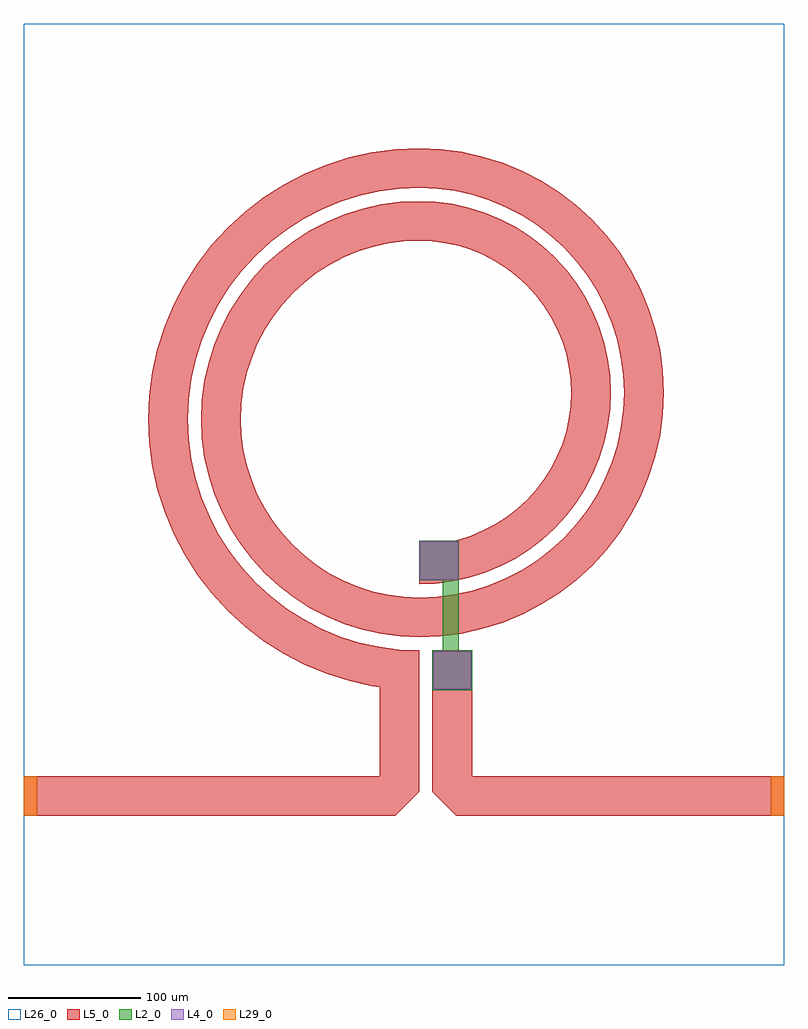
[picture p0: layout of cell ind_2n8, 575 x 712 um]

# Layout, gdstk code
import gdstk
lib = gdstk.Library(unit=1e-6, precision=5e-10)
def R(c, l, rs):  # rectangles x0, y0, x1, y1
    for r in rs: c.add(gdstk.rectangle(r[:2], r[2:], *l))
def P(c, l, *ps):  # polygons
    for p in ps: c.add(gdstk.Polygon(p, *l))
L2_0 = (2, 0)
L4_0 = (4, 0)
L5_0 = (5, 0)
L26_0 = (26, 0)
L29_0 = (29, 0)

ind_2n8 = lib.new_cell('ind_2n8')
R(ind_2n8, L2_0, [(5,95,35,125), (13,95,25,205), (-5,178,25,208)])
R(ind_2n8, L4_0, [(5.5,95.5,34.5,124.5), (-4.5,178.5,24.5,207.5)])
R(ind_2n8, L5_0, [(-304,0,-289,30), (256,0,271,30), (-35,75,-5,125), (5,75,35,125), (-5,178,25,208)])
P(ind_2n8, L5_0, [(271,30),(35,30),(35,75),(5,75),(5,18),(23,0),(271,0)],
  [(-5,165),(-5,135),(11.124,135.704),(27.125,137.8105),(42.8815,141.3035),(58.2735,146.157),(73.1845,152.333),(87.5,159.7855),(101.1115,168.457),(113.9155,178.282),(125.815,189.185),(136.718,201.0845),(146.543,213.8885),(155.2145,227.5),(162.667,241.8155),(168.843,256.7265),(173.6965,272.1185),(177.1895,287.875),(179.296,303.876),(180,320),(179.296,336.124),(177.1895,352.125),(173.6965,367.8815),(168.843,383.2735),(162.667,398.1845),(155.2145,412.5),(146.543,426.1115),(136.718,438.9155),(125.815,450.815),(113.9155,461.718),(101.1115,471.543),(87.5,480.2145),(73.1845,487.667),(58.2735,493.843),(42.8815,498.6965),(27.125,502.1895),(11.124,504.296),(-5,505),(-5,475),(8.509,474.41),(21.9155,472.645),(35.117,469.7185),(48.013,465.6525),(60.506,460.4775),(72.5,454.234),(83.9045,446.9685),(94.632,438.737),(104.6015,429.6015),(113.737,419.632),(121.9685,408.9045),(129.234,397.5),(135.4775,385.506),(140.6525,373.013),(144.7185,360.117),(147.645,346.9155),(149.41,333.509),(150,320),(149.41,306.491),(147.645,293.0845),(144.7185,279.883),(140.6525,266.987),(135.4775,254.494),(129.234,242.5),(121.9685,231.0955),(113.737,220.368),(104.6015,210.3985),(94.632,201.263),(83.9045,193.0315),(72.5,185.766),(60.506,179.5225),(48.013,174.3475),(35.117,170.2815),(21.9155,167.355),(8.509,165.59)],
  [(-5,205),(-5,175),(7.6375,175.552),(20.179,177.203),(32.529,179.941),(44.593,183.7445),(56.2795,188.5855),(67.5,194.4265),(78.1685,201.223),(88.204,208.9235),(97.5305,217.4695),(106.0765,226.796),(113.777,236.8315),(120.5735,247.5),(126.4145,258.7205),(131.2555,270.407),(135.059,282.471),(137.797,294.821),(139.448,307.3625),(140,320),(139.448,332.6375),(137.797,345.179),(135.059,357.529),(131.2555,369.593),(126.4145,381.2795),(120.5735,392.5),(113.777,403.1685),(106.0765,413.204),(97.5305,422.5305),(88.204,431.0765),(78.1685,438.777),(67.5,445.5735),(56.2795,451.4145),(44.593,456.2555),(32.529,460.059),(20.179,462.797),(7.6375,464.448),(-5,465),(-5,435),(5.023,434.5625),(14.9695,433.253),(24.764,431.0815),(34.3325,428.0645),(43.601,424.2255),(52.5,419.593),(60.9615,414.2025),(68.9205,408.095),(76.3175,401.3175),(83.095,393.9205),(89.2025,385.9615),(94.593,377.5),(99.2255,368.601),(103.0645,359.3325),(106.0815,349.764),(108.253,339.9695),(109.5625,330.023),(110,320),(109.5625,309.977),(108.253,300.0305),(106.0815,290.236),(103.0645,280.6675),(99.2255,271.399),(94.593,262.5),(89.2025,254.0385),(83.095,246.0795),(76.3175,238.6825),(68.9205,231.905),(60.9615,225.7975),(52.5,220.407),(43.601,215.7745),(34.3325,211.9355),(24.764,208.9185),(14.9695,206.747),(5.023,205.4375)],
  [(-5,165),(-5,135),(-19.3805,135.628),(-33.652,137.5065),(-47.705,140.622),(-61.4335,144.9505),(-74.732,150.459),(-87.5,157.106),(-99.64,164.84),(-111.06,173.6025),(-121.6725,183.3275),(-131.3975,193.94),(-140.16,205.36),(-147.894,217.5),(-154.541,230.268),(-160.0495,243.5665),(-164.378,257.295),(-167.4935,271.348),(-169.372,285.6195),(-170,300),(-169.372,314.3805),(-167.4935,328.652),(-164.378,342.705),(-160.0495,356.4335),(-154.541,369.732),(-147.894,382.5),(-140.16,394.64),(-131.3975,406.06),(-121.6725,416.6725),(-111.06,426.3975),(-99.64,435.16),(-87.5,442.894),(-74.732,449.541),(-61.4335,455.0495),(-47.705,459.378),(-33.652,462.4935),(-19.3805,464.372),(-5,465),(-5,435),(-16.766,434.4865),(-28.4425,432.949),(-39.9405,430.4),(-51.1725,426.8585),(-62.0535,422.3515),(-72.5,416.9135),(-82.433,410.5855),(-91.7765,403.416),(-100.4595,395.4595),(-108.416,386.7765),(-115.5855,377.433),(-121.9135,367.5),(-127.3515,357.0535),(-131.8585,346.1725),(-135.4,334.9405),(-137.949,323.4425),(-139.4865,311.766),(-140,300),(-139.4865,288.234),(-137.949,276.5575),(-135.4,265.0595),(-131.8585,253.8275),(-127.3515,242.9465),(-121.9135,232.5),(-115.5855,222.567),(-108.416,213.2235),(-100.4595,204.5405),(-91.7765,196.584),(-82.433,189.4145),(-72.5,183.0865),(-62.0535,177.6485),(-51.1725,173.1415),(-39.9405,169.6),(-28.4425,167.051),(-16.766,165.5135)],
  [(-5,125),(-5,95),(-22.867,95.78),(-40.598,98.1145),(-58.058,101.985),(-75.114,107.363),(-91.6365,114.207),(-107.5,122.465),(-122.583,132.074),(-136.7715,142.961),(-149.957,155.043),(-162.039,168.2285),(-172.926,182.417),(-182.535,197.5),(-190.793,213.3635),(-197.637,229.886),(-203.015,246.942),(-206.8855,264.402),(-209.22,282.133),(-210,300),(-209.22,317.867),(-206.8855,335.598),(-203.015,353.058),(-197.637,370.114),(-190.793,386.6365),(-182.535,402.5),(-172.926,417.583),(-162.039,431.7715),(-149.957,444.957),(-136.7715,457.039),(-122.583,467.926),(-107.5,477.535),(-91.6365,485.793),(-75.114,492.637),(-58.058,498.015),(-40.598,501.8855),(-22.867,504.22),(-5,505),(-5,475),(-20.2525,474.334),(-35.3885,472.3415),(-50.2935,469.037),(-64.8535,464.446),(-78.958,458.604),(-92.5,451.5545),(-105.376,443.3515),(-117.488,434.058),(-128.7435,423.7435),(-139.058,412.488),(-148.3515,400.376),(-156.5545,387.5),(-163.604,373.958),(-169.446,359.8535),(-174.037,345.2935),(-177.3415,330.3885),(-179.334,315.2525),(-180,300),(-179.334,284.7475),(-177.3415,269.6115),(-174.037,254.7065),(-169.446,240.1465),(-163.604,226.042),(-156.5545,212.5),(-148.3515,199.624),(-139.058,187.512),(-128.7435,176.2565),(-117.488,165.942),(-105.376,156.6485),(-92.5,148.4455),(-78.958,141.396),(-64.8535,135.554),(-50.2935,130.963),(-35.3885,127.6585),(-20.2525,125.666)],
  [(-304,0),(-23,0),(-5,18),(-5,75),(-35,75),(-35,30),(-304,30)])
R(ind_2n8, L26_0, [(-304,-113,271,599)])
R(ind_2n8, L29_0, [(-304,0,-294,30), (261,0,271,30)])

lib.write_gds('ind_2n8.gds')
